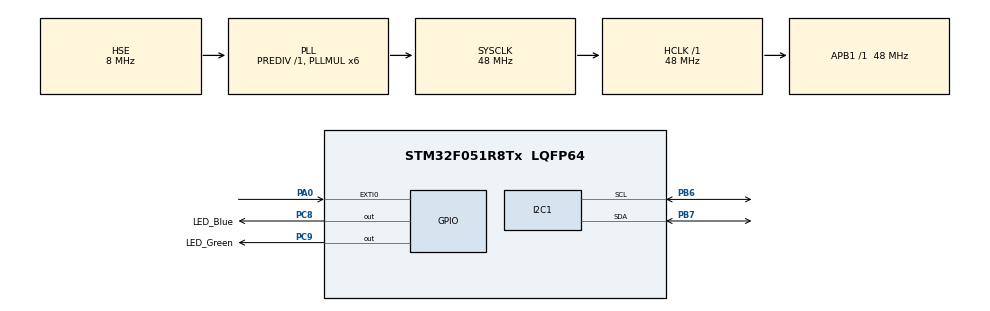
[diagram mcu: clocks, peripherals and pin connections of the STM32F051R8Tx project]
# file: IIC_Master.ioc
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Dma.I2C1_TX.0.Direction=DMA_MEMORY_TO_PERIPH
Dma.I2C1_TX.0.Instance=DMA1_Channel2
Dma.I2C1_TX.0.MemDataAlignment=DMA_MDATAALIGN_BYTE
Dma.I2C1_TX.0.MemInc=DMA_MINC_ENABLE
Dma.I2C1_TX.0.Mode=DMA_NORMAL
Dma.I2C1_TX.0.PeriphDataAlignment=DMA_PDATAALIGN_BYTE
Dma.I2C1_TX.0.PeriphInc=DMA_PINC_DISABLE
Dma.I2C1_TX.0.Priority=DMA_PRIORITY_LOW
Dma.Request0=I2C1_TX
I2C1.Timing=0x00201D2B
Mcu.Family=STM32F0
Mcu.Name=STM32F051R8Tx
Mcu.Package=LQFP64
NVIC.DMA1_Channel2_3_IRQn=true\:0\:0\:false\:false\:true\:false\:true\:true
NVIC.EXTI0_1_IRQn=true\:0\:0\:false\:false\:true\:true\:true\:true
NVIC.I2C1_IRQn=true\:0\:0\:false\:false\:true\:true\:true\:true
NVIC.TIM6_DAC_IRQn=true\:0\:0\:false\:false\:true\:true\:true\:true
PA0.Signal=GPXTI0
PA13.GPIO_Label=SWDIO
PA13.Mode=Serial_Wire
PA13.Signal=SYS_SWDIO
PA14.GPIO_Label=SWCLK
PA14.Mode=Serial_Wire
PA14.Signal=SYS_SWCLK
PB6.GPIO_Pu=GPIO_PULLUP
PB6.Mode=I2C
PB6.Signal=I2C1_SCL
PB7.GPIO_Pu=GPIO_PULLUP
PB7.Mode=I2C
PB7.Signal=I2C1_SDA
PC8.GPIO_Label=LED_Blue
PC8.Signal=GPIO_Output
PC9.GPIO_Label=LED_Green
PC9.Signal=GPIO_Output
PF0-OSC_IN.Mode=HSE-External-Oscillator
PF0-OSC_IN.Signal=RCC_OSC_IN
PF1-OSC_OUT.Mode=HSE-External-Oscillator
PF1-OSC_OUT.Signal=RCC_OSC_OUT
ProjectManager.HeapSize=0x200
ProjectManager.StackSize=0x400
ProjectManager.TargetToolchain=STM32CubeIDE
RCC.AHBFreq_Value=48000000
RCC.APB1Freq_Value=48000000
RCC.APB1TimFreq_Value=48000000
RCC.HCLKFreq_Value=48000000
RCC.PLLMUL=RCC_PLL_MUL6
RCC.PLLSourceVirtual=RCC_PLLSOURCE_HSE
RCC.SYSCLKFreq_VALUE=48000000
RCC.SYSCLKSource=RCC_SYSCLKSOURCE_PLLCLK
TIM6.Period=1000-1
TIM6.Prescaler=48000-1
VP_TIM6_VS_ClockSourceINT.Mode=Enable_Timer
board=STM32F0DISCOVERY

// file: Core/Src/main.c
/* USER CODE BEGIN Header */
/**
  ******************************************************************************
  * @file           : main.c
  * @brief          : Main program body
  ******************************************************************************
  * @attention
  *
  * Copyright (c) 2024 STMicroelectronics.
  * All rights reserved.
  *
  * This software is licensed under terms that can be found in the LICENSE file
  * in the root directory of this software component.
  * If no LICENSE file comes with this software, it is provided AS-IS.
  *
  ******************************************************************************
  */
/* USER CODE END Header */
#include "main.h"

/* USER CODE BEGIN Includes */
#include <string.h>
#include <stdio.h>
/* USER CODE END Includes */

I2C_HandleTypeDef hi2c1;
DMA_HandleTypeDef hdma_i2c1_tx;

TIM_HandleTypeDef htim6;

/* USER CODE BEGIN PV */
HAL_StatusTypeDef ret_hal;

uint8_t counter_periodic = 0;

uint16_t IIC_Slave_ADDR = (0x12<<1);
uint8_t TxData_Periodic[6] = {0x0, 0x0, 0x0, 0x0, 0x0, 0x0};
uint8_t TxData_Once[6] = {0x0, 0x1, 0x2, 0x3, 0x4, 0x5};
/* USER CODE END PV */

void SystemClock_Config(void);
static void MX_GPIO_Init(void);
static void MX_DMA_Init(void);
static void MX_TIM6_Init(void);
static void MX_I2C1_Init(void);

int main(void)
{

  /* MCU Configuration--------------------------------------------------------*/

  /* Reset of all peripherals, Initializes the Flash interface and the Systick. */
  HAL_Init();

  /* Configure the system clock */
  SystemClock_Config();

  /* Initialize all configured peripherals */
  MX_GPIO_Init();
  MX_DMA_Init();
  MX_TIM6_Init();
  MX_I2C1_Init();
  /* USER CODE BEGIN 2 */
  // Start Timer TIM6
  HAL_TIM_Base_Start_IT(&htim6);
  /* USER CODE END 2 */

  /* Infinite loop */
  /* USER CODE BEGIN WHILE */
  while (1)
  {
	  __WFI();
    /* USER CODE END WHILE */

  }
}

void SystemClock_Config(void)
{
  RCC_OscInitTypeDef RCC_OscInitStruct = {0};
  RCC_ClkInitTypeDef RCC_ClkInitStruct = {0};
  RCC_PeriphCLKInitTypeDef PeriphClkInit = {0};

  /** Initializes the RCC Oscillators according to the specified parameters
  * in the RCC_OscInitTypeDef structure.
  */
  RCC_OscInitStruct.OscillatorType = RCC_OSCILLATORTYPE_HSI|RCC_OSCILLATORTYPE_HSE;
  RCC_OscInitStruct.HSEState = RCC_HSE_ON;
  RCC_OscInitStruct.HSIState = RCC_HSI_ON;
  RCC_OscInitStruct.HSICalibrationValue = RCC_HSICALIBRATION_DEFAULT;
  RCC_OscInitStruct.PLL.PLLState = RCC_PLL_ON;
  RCC_OscInitStruct.PLL.PLLSource = RCC_PLLSOURCE_HSE;
  RCC_OscInitStruct.PLL.PLLMUL = RCC_PLL_MUL6;
  RCC_OscInitStruct.PLL.PREDIV = RCC_PREDIV_DIV1;
  if (HAL_RCC_OscConfig(&RCC_OscInitStruct) != HAL_OK)
  {
    Error_Handler();
  }

  /** Initializes the CPU, AHB and APB buses clocks
  */
  RCC_ClkInitStruct.ClockType = RCC_CLOCKTYPE_HCLK|RCC_CLOCKTYPE_SYSCLK
                              |RCC_CLOCKTYPE_PCLK1;
  RCC_ClkInitStruct.SYSCLKSource = RCC_SYSCLKSOURCE_PLLCLK;
  RCC_ClkInitStruct.AHBCLKDivider = RCC_SYSCLK_DIV1;
  RCC_ClkInitStruct.APB1CLKDivider = RCC_HCLK_DIV1;

  if (HAL_RCC_ClockConfig(&RCC_ClkInitStruct, FLASH_LATENCY_1) != HAL_OK)
  {
    Error_Handler();
  }
  PeriphClkInit.PeriphClockSelection = RCC_PERIPHCLK_I2C1;
  PeriphClkInit.I2c1ClockSelection = RCC_I2C1CLKSOURCE_HSI;
  if (HAL_RCCEx_PeriphCLKConfig(&PeriphClkInit) != HAL_OK)
  {
    Error_Handler();
  }
}

static void MX_I2C1_Init(void)
{

  hi2c1.Instance = I2C1;
  hi2c1.Init.Timing = 0x00201D2B;
  hi2c1.Init.OwnAddress1 = 0;
  hi2c1.Init.AddressingMode = I2C_ADDRESSINGMODE_7BIT;
  hi2c1.Init.DualAddressMode = I2C_DUALADDRESS_DISABLE;
  hi2c1.Init.OwnAddress2 = 0;
  hi2c1.Init.OwnAddress2Masks = I2C_OA2_NOMASK;
  hi2c1.Init.GeneralCallMode = I2C_GENERALCALL_DISABLE;
  hi2c1.Init.NoStretchMode = I2C_NOSTRETCH_DISABLE;
  if (HAL_I2C_Init(&hi2c1) != HAL_OK)
  {
    Error_Handler();
  }

  /** Configure Analogue filter
  */
  if (HAL_I2CEx_ConfigAnalogFilter(&hi2c1, I2C_ANALOGFILTER_ENABLE) != HAL_OK)
  {
    Error_Handler();
  }

  /** Configure Digital filter
  */
  if (HAL_I2CEx_ConfigDigitalFilter(&hi2c1, 0) != HAL_OK)
  {
    Error_Handler();
  }

}

static void MX_TIM6_Init(void)
{

  TIM_MasterConfigTypeDef sMasterConfig = {0};

  htim6.Instance = TIM6;
  htim6.Init.Prescaler = 48000-1;
  htim6.Init.CounterMode = TIM_COUNTERMODE_UP;
  htim6.Init.Period = 1000-1;
  htim6.Init.AutoReloadPreload = TIM_AUTORELOAD_PRELOAD_DISABLE;
  if (HAL_TIM_Base_Init(&htim6) != HAL_OK)
  {
    Error_Handler();
  }
  sMasterConfig.MasterOutputTrigger = TIM_TRGO_RESET;
  sMasterConfig.MasterSlaveMode = TIM_MASTERSLAVEMODE_DISABLE;
  if (HAL_TIMEx_MasterConfigSynchronization(&htim6, &sMasterConfig) != HAL_OK)
  {
    Error_Handler();
  }

}

static void MX_DMA_Init(void)
{

  /* DMA controller clock enable */
  __HAL_RCC_DMA1_CLK_ENABLE();

  /* DMA interrupt init */
  /* DMA1_Channel2_3_IRQn interrupt configuration */
  HAL_NVIC_SetPriority(DMA1_Channel2_3_IRQn, 0, 0);
  HAL_NVIC_EnableIRQ(DMA1_Channel2_3_IRQn);

}

static void MX_GPIO_Init(void)
{
  GPIO_InitTypeDef GPIO_InitStruct = {0};

  /* GPIO Ports Clock Enable */
  __HAL_RCC_GPIOF_CLK_ENABLE();
  __HAL_RCC_GPIOA_CLK_ENABLE();
  __HAL_RCC_GPIOC_CLK_ENABLE();
  __HAL_RCC_GPIOB_CLK_ENABLE();

  /*Configure GPIO pin Output Level */
  HAL_GPIO_WritePin(GPIOC, LED_Blue_Pin|LED_Green_Pin, GPIO_PIN_RESET);

  /*Configure GPIO pin : PA0 */
  GPIO_InitStruct.Pin = GPIO_PIN_0;
  GPIO_InitStruct.Mode = GPIO_MODE_IT_RISING;
  GPIO_InitStruct.Pull = GPIO_NOPULL;
  HAL_GPIO_Init(GPIOA, &GPIO_InitStruct);

  /*Configure GPIO pins : LED_Blue_Pin LED_Green_Pin */
  GPIO_InitStruct.Pin = LED_Blue_Pin|LED_Green_Pin;
  GPIO_InitStruct.Mode = GPIO_MODE_OUTPUT_PP;
  GPIO_InitStruct.Pull = GPIO_NOPULL;
  GPIO_InitStruct.Speed = GPIO_SPEED_FREQ_LOW;
  HAL_GPIO_Init(GPIOC, &GPIO_InitStruct);

  /* EXTI interrupt init*/
  HAL_NVIC_SetPriority(EXTI0_1_IRQn, 0, 0);
  HAL_NVIC_EnableIRQ(EXTI0_1_IRQn);

}

/* USER CODE BEGIN 4 */
void HAL_GPIO_EXTI_Callback(uint16_t GPIO_Pin)
{
	HAL_StatusTypeDef iic_tx_status;
	uint8_t Val_Tmp[1] = {0x0};
	Val_Tmp[0] = TxData_Once[0];

	// Call the function and get the returned array
	for (int i=0; i<sizeof(TxData_Once)-1; i++)
	{
		TxData_Once[i] = TxData_Once[i+1];
	}
	TxData_Once[sizeof(TxData_Once)-1] = Val_Tmp[0];

	iic_tx_status = HAL_I2C_Master_Transmit_DMA(&hi2c1, IIC_Slave_ADDR, TxData_Once, 6); //Sending in DMA mode

	if (iic_tx_status==HAL_OK)
	{
		HAL_GPIO_TogglePin(GPIOC, LED_Green_Pin);	// PC9 - Green LED
	}
	else
	{
		// Empty for now
	}
}

void HAL_TIM_PeriodElapsedCallback(TIM_HandleTypeDef *htim)
{
  if (htim->Instance == TIM6){
	HAL_StatusTypeDef iic_tx_status;
	TxData_Periodic[0] = counter_periodic;

	iic_tx_status = HAL_I2C_Master_Transmit_DMA(&hi2c1, IIC_Slave_ADDR, TxData_Periodic, 6); //Sending in DMA mode

	if (iic_tx_status==HAL_OK)
	{
		HAL_GPIO_TogglePin(GPIOC, LED_Blue_Pin);	// PC8 - Blue LED
	}
	else
	{
		// Empty for now
	}

	counter_periodic++;
	if (counter_periodic >= 255)
	{
		counter_periodic = 0;
	}
  }
}
/* USER CODE END 4 */

void Error_Handler(void)
{
  __disable_irq();
  while (1)
  {
  }
}
